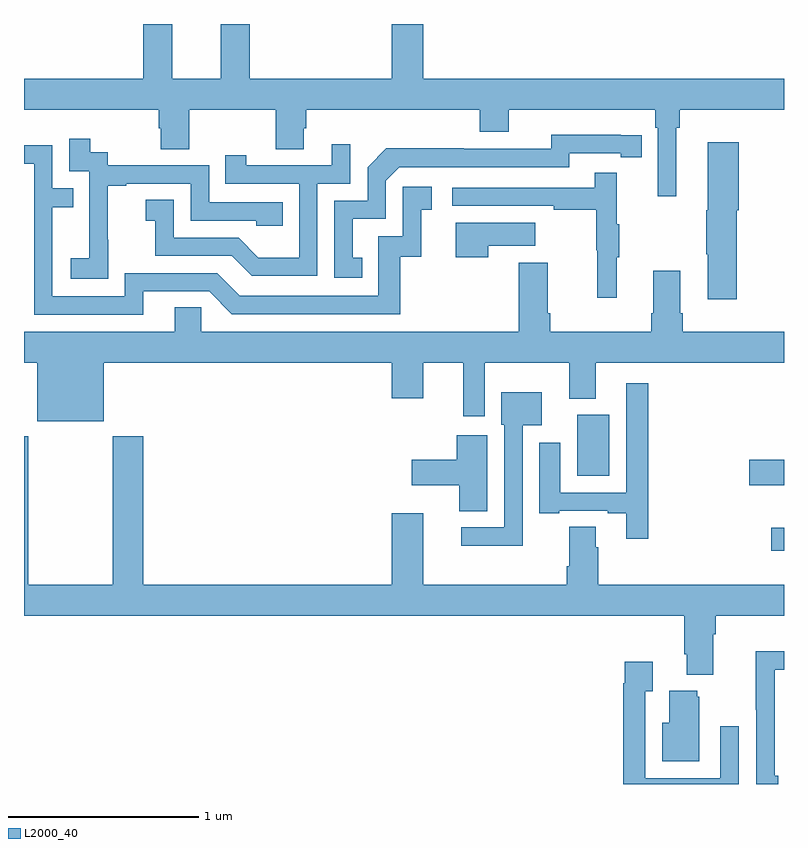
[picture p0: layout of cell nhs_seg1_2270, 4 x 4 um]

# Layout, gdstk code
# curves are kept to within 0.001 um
import gdstk
lib = gdstk.Library(unit=1e-6, precision=1e-09)
def R(c, l, rs):  # rectangles x0, y0, x1, y1
    for r in rs: c.add(gdstk.rectangle(r[:2], r[2:], *l))
def P(c, l, *ps):  # polygons
    for p in ps: c.add(gdstk.Polygon(p, *l))
L2000_40 = (2000, 40)

nhs_seg1_2270 = lib.new_cell('nhs_seg1_2270')
R(nhs_seg1_2270, L2000_40, [(238.932,533.426,239,533.548), (238.818,533.771,239,533.906), (237.911,533.822,238.081,534.142)])
P(nhs_seg1_2270, L2000_40, [(238.432,535.652),(238.451,535.652),(238.451,535.748),(239,535.748),(239,535.912),(237.1,535.912),(237.1,536.199),(236.936,536.199),(236.936,535.912),(236.189,535.912),(236.189,536.199),(236.036,536.199),(236.036,535.912),(235.78,535.912),(235.78,536.199),(235.628,536.199),(235.628,535.912),(235,535.912),(235,535.748),(235.709,535.748),(235.709,535.65),(235.721,535.65),(235.721,535.54),(235.869,535.54),(235.869,535.748),(236.326,535.748),(236.326,535.54),(236.473,535.54),(236.473,535.65),(236.486,535.65),(236.486,535.748),(237.398,535.748),(237.398,535.631),(237.55,535.631),(237.55,535.748),(238.322,535.748),(238.322,535.652),(238.335,535.652),(238.335,535.293),(238.432,535.293)],
  [(236.78,534.969),(236.731,534.969),(236.731,535.173),(236.904,535.173),(236.904,535.374),(236.976,535.446),(237.87,535.446),(237.87,535.518),(238.142,535.518),(238.142,535.498),(238.25,535.498),(238.25,535.614),(237.774,535.615),(237.774,535.542),(237.314,535.542),(237.314,535.544),(236.906,535.544),(236.808,535.446),(236.808,535.269),(236.634,535.269),(236.634,534.864),(236.78,534.864)],
  [(235.443,535.063),(235.442,535.063),(235.442,535.347),(235.537,535.347),(235.537,535.359),(235.878,535.359),(235.878,535.164),(236.223,535.164),(236.223,535.137),(236.363,535.137),(236.363,535.26),(235.974,535.26),(235.974,535.455),(235.44,535.455),(235.44,535.524),(235.348,535.524),(235.348,535.594),(235.239,535.594),(235.239,535.425),(235.344,535.425),(235.344,535.196),(235.343,535.196),(235.343,534.967),(235.245,534.967),(235.245,534.857),(235.443,534.857)],
  [(238.752,535.218),(238.762,535.218),(238.762,535.576),(238.598,535.576),(238.598,535.218),(238.591,535.218),(238.591,534.988),(238.598,534.988),(238.598,534.75),(238.752,534.75)],
  [(236.544,535.359),(236.718,535.359),(236.718,535.567),(236.621,535.567),(236.621,535.455),(236.17,535.455),(236.17,535.507),(236.059,535.507),(236.059,535.359),(236.448,535.359),(236.448,534.97),(236.234,534.97),(236.13,535.074),(235.788,535.074),(235.788,535.273),(235.641,535.273),(235.641,535.163),(235.69,535.163),(235.69,534.978),(236.093,534.978),(236.198,534.873),(236.544,534.873)],
  [(235.627,534.792),(235.974,534.792),(236.094,534.672),(236.981,534.672),(236.981,534.975),(237.092,534.975),(237.092,535.221),(237.145,535.221),(237.145,535.342),(236.994,535.342),(236.994,535.083),(236.865,535.083),(236.865,534.768),(236.136,534.768),(236.016,534.888),(235.53,534.888),(235.53,534.765),(235.149,534.765),(235.149,535.234),(235.259,535.234),(235.259,535.335),(235.149,535.335),(235.149,535.56),(235,535.56),(235,535.464),(235.053,535.464),(235.053,534.669),(235.627,534.669)],
  [(238.121,534.971),(238.132,534.971),(238.132,535.145),(238.121,535.145),(238.121,535.417),(238.003,535.417),(238.003,535.338),(237.255,535.338),(237.255,535.242),(237.787,535.242),(237.787,535.222),(238.011,535.222),(238.011,535.008),(238.018,535.008),(238.018,534.759),(238.121,534.759)],
  [(237.443,535.031),(237.691,535.031),(237.691,535.153),(237.272,535.153),(237.272,534.972),(237.443,534.972)],
  [(235.42,534.416),(236.936,534.416),(236.936,534.228),(237.1,534.228),(237.1,534.416),(237.311,534.416),(237.311,534.135),(237.424,534.135),(237.424,534.416),(237.869,534.416),(237.869,534.227),(238.009,534.227),(238.009,534.416),(239,534.416),(239,534.58),(238.466,534.58),(238.466,534.676),(238.453,534.676),(238.453,534.901),(238.313,534.901),(238.313,534.676),(238.301,534.676),(238.301,534.58),(237.77,534.58),(237.77,534.676),(237.757,534.676),(237.757,534.943),(237.605,534.943),(237.605,534.58),(235.932,534.58),(235.932,534.707),(235.793,534.707),(235.793,534.58),(235,534.58),(235,534.416),(235.07,534.416),(235.07,534.107),(235.42,534.107)],
  [(238.286,534.307),(238.17,534.307),(238.17,533.733),(237.823,533.733),(237.823,533.995),(237.713,533.995),(237.713,533.625),(237.817,533.625),(237.817,533.637),(238.073,533.637),(238.073,533.625),(238.169,533.625),(238.169,533.49),(238.286,533.49)],
  [(237.624,534.086),(237.724,534.086),(237.724,534.262),(237.512,534.262),(237.512,534.09),(237.528,534.09),(237.528,533.55),(237.3,533.55),(237.3,533.453),(237.624,533.453)],
  [(237.439,534.034),(237.278,534.034),(237.278,533.906),(237.042,533.906),(237.042,533.771),(237.29,533.771),(237.29,533.635),(237.439,533.635)],
  [(238.627,532.988),(238.64,532.988),(238.64,533.084),(239,533.084),(239,533.248),(238.022,533.248),(238.022,533.444),(238.009,533.444),(238.009,533.552),(237.869,533.552),(237.869,533.344),(237.857,533.344),(237.857,533.248),(237.1,533.248),(237.1,533.623),(236.936,533.623),(236.936,533.248),(235.628,533.248),(235.628,534.028),(235.468,534.028),(235.468,533.248),(235.023,533.248),(235.023,534.028),(235,534.028),(235,533.084),(238.475,533.084),(238.475,532.882),(238.487,532.882),(238.487,532.775),(238.627,532.775)],
  [(238.969,532.242),(238.95,532.242),(238.95,532.8),(239,532.8),(239,532.898),(238.852,532.898),(238.852,532.591),(238.854,532.591),(238.854,532.199),(238.969,532.199)],
  [(238.761,532.504),(238.665,532.504),(238.665,532.23),(238.269,532.23),(238.269,532.687),(238.309,532.687),(238.309,532.843),(238.161,532.843),(238.161,532.73),(238.153,532.73),(238.153,532.199),(238.761,532.199)],
  [(238.555,532.659),(238.544,532.659),(238.544,532.69),(238.397,532.69),(238.397,532.522),(238.358,532.522),(238.358,532.319),(238.555,532.319)])

lib.write_gds('nhs_seg1_2270.gds')
